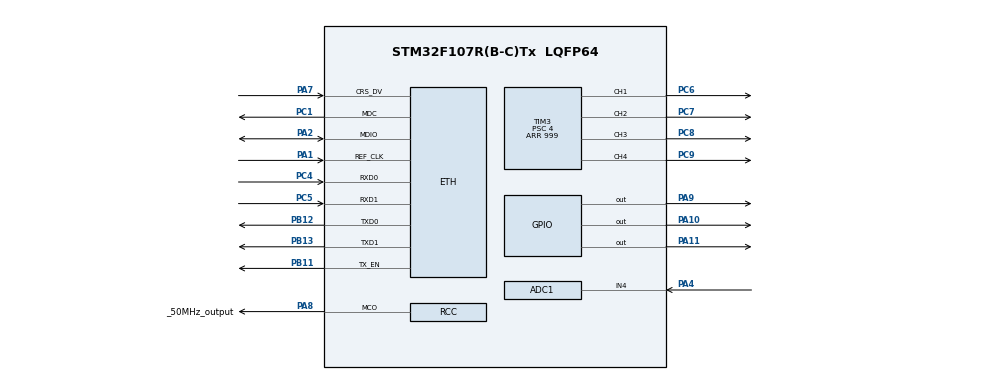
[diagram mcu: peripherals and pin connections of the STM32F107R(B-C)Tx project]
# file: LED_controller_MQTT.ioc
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ADC1.Channel-0\#ChannelRegularConversion=ADC_CHANNEL_4
ADC1.ContinuousConvMode=DISABLE
ADC1.NbrOfConversionFlag=1
ADC1.Rank-0\#ChannelRegularConversion=1
ADC1.SamplingTime-0\#ChannelRegularConversion=ADC_SAMPLETIME_1CYCLE_5
ADC1.master=1
ETH.MACAddr=00\:80\:E1\:02\:07\:01
ETH.MediaInterface=ETH_MEDIA_INTERFACE_RMII
FREERTOS.Tasks01=defaultTask,0,128,StartDefaultTask,Default,NULL
FREERTOS.configTOTAL_HEAP_SIZE=32768
FREERTOS.configUSE_COUNTING_SEMAPHORES=1
LWIP.CHECKSUM_BY_HARDWARE=1
LWIP.Version=v2.0.0_Cube
Mcu.Family=STM32F1
Mcu.Name=STM32F107R(B-C)Tx
Mcu.Package=LQFP64
NVIC.ADC1_2_IRQn=true\:5\:0\:false\:false\:true\:true\:true
NVIC.ETH_IRQn=true\:5\:0\:false\:false\:true\:true\:false
NVIC.PriorityGroup=NVIC_PRIORITYGROUP_4
NVIC.TIM4_IRQn=true\:5\:0\:false\:false\:true\:true\:true
NVIC.TIM7_IRQn=true\:0\:0\:false\:false\:true\:false\:false
NVIC.TimeBase=TIM7_IRQn
NVIC.TimeBaseIP=TIM7
PA1.Mode=RMII
PA1.Signal=ETH_REF_CLK
PA10.Signal=GPIO_Output
PA11.Signal=GPIO_Output
PA13.Mode=Serial_Wire
PA13.Signal=SYS_JTMS-SWDIO
PA14.Mode=Serial_Wire
PA14.Signal=SYS_JTCK-SWCLK
PA2.Mode=RMII
PA2.Signal=ETH_MDIO
PA4.Signal=ADCx_IN4
PA7.Mode=RMII
PA7.Signal=ETH_CRS_DV
PA8.GPIO_Label=_50MHz_output
PA8.GPIO_Speed=GPIO_SPEED_FREQ_HIGH
PA8.Mode=Clock-out
PA8.Signal=RCC_MCO
PA9.Signal=GPIO_Output
PB11.Mode=RMII
PB11.Signal=ETH_TX_EN
PB12.Mode=RMII
PB12.Signal=ETH_TXD0
PB13.Mode=RMII
PB13.Signal=ETH_TXD1
PC1.Mode=RMII
PC1.Signal=ETH_MDC
PC4.Mode=RMII
PC4.Signal=ETH_RXD0
PC5.Mode=RMII
PC5.Signal=ETH_RXD1
PC6.Signal=S_TIM3_CH1
PC7.Signal=S_TIM3_CH2
PC8.Signal=S_TIM3_CH3
PC9.Signal=S_TIM3_CH4
PD0-OSC_IN.Mode=HSE-External-Oscillator
PD0-OSC_IN.Signal=RCC_OSC_IN
PD1-OSC_OUT.Mode=HSE-External-Oscillator
PD1-OSC_OUT.Signal=RCC_OSC_OUT
ProjectManager.HeapSize=0x200
ProjectManager.StackSize=0x400
ProjectManager.TargetToolchain=TrueSTUDIO
RCC.ADCPresc=RCC_ADCPCLK2_DIV8
RCC.AHBFreq_Value=50000000
RCC.APB1CLKDivider=RCC_HCLK_DIV2
RCC.APB1Freq_Value=25000000
RCC.APB1TimFreq_Value=50000000
RCC.APB2Freq_Value=50000000
RCC.APB2TimFreq_Value=50000000
RCC.HCLKFreq_Value=50000000
RCC.HSEDivPLL=RCC_HSE_PREDIV_DIV4
RCC.HSE_VALUE=25000000
RCC.PLLMUL=RCC_PLL_MUL5
RCC.PLLSourceVirtual=RCC_PLLSOURCE_HSE
RCC.Prediv1Source=RCC_PREDIV1_SOURCE_PLL2
RCC.Prediv2=RCC_HSE_PREDIV2_DIV5
RCC.SYSCLKFreq_VALUE=50000000
RCC.SYSCLKSource=RCC_SYSCLKSOURCE_PLLCLK
RCC.USBFreq_Value=33333333.333333332
SH.ADCx_IN4.0=ADC1_IN4,IN4
SH.S_TIM3_CH1.0=TIM3_CH1,PWM Generation1 CH1
SH.S_TIM3_CH2.0=TIM3_CH2,PWM Generation2 CH2
SH.S_TIM3_CH3.0=TIM3_CH3,PWM Generation3 CH3
SH.S_TIM3_CH4.0=TIM3_CH4,PWM Generation4 CH4
TIM3.Channel-PWM\ Generation1\ CH1=TIM_CHANNEL_1
TIM3.Channel-PWM\ Generation2\ CH2=TIM_CHANNEL_2
TIM3.Channel-PWM\ Generation3\ CH3=TIM_CHANNEL_3
TIM3.Channel-PWM\ Generation4\ CH4=TIM_CHANNEL_4
TIM3.Period=999
TIM3.Prescaler=4
TIM4.Period=9999
TIM4.Prescaler=499
VP_CRC_VS_CRC.Mode=CRC_Activate
VP_FREERTOS_VS_ENABLE.Mode=Enabled
VP_LWIP_VS_Enabled.Mode=Enabled
VP_SYS_VS_tim7.Mode=TIM7
VP_TIM3_VS_ClockSourceINT.Mode=Internal
VP_TIM4_VS_ClockSourceINT.Mode=Internal
board=custom

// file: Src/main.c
#include "main.h"
#include "FreeRTOS.h"
#include "cmsis_os.h"
#include "lwip.h"
#include "socket.h"
#include "string.h"
#include "stdlib.h"
#include "mqtt.h"

#define ABSOLUTE_MAX_PWM		999
#define COOLDOWN_INTERVAL		600
#define DIVIDER_COEF			13.0f
#define TXMESSAGEQUEUE_SIZE		10
#define DATACOOLDOWN_INTERVAL	600
#define PARAMFIELD_LENGTH		50

ADC_HandleTypeDef hadc1;
CRC_HandleTypeDef hcrc;
TIM_HandleTypeDef htim3;
TIM_HandleTypeDef htim4;

extern struct netif gnetif;

osThreadId defaultTaskHandle;
osThreadId networkTaskHandle;
osThreadId networkReceiveTaskHandle;

osSemaphoreDef_t *ethTxSem;
osSemaphoreId ethTxSemaphoreId;

struct gParamStruct_t paramStruct;
int switchInPrev = 1;
int auxCtrlInPrev = 1;
int proxInPrev = 0;
int lightInPrev = 0;
int timerVal = 0;
int timerEnable = 0;
//int updatePendingFlag = 0;
int connState = CONNSTATE_IF_NOTREADY;
int sock;
char mqttClientId[PARAMFIELD_LENGTH];
char mqttTopicName[PARAMFIELD_LENGTH];
char mqttValue[PARAMFIELD_LENGTH];

void DefaultTask(void const * argument);
void NetworkTaskFunction(void const * argument);
void NetworkReceiveTaskFunction(void const * argument);
void ParseCommand(char *cmdBuf, char *valBuf);

int main(void)
{
  /* Reset of all peripherals, Initializes the Flash interface and the Systick. */
  HAL_Init();
  /* Configure the system clock */
  SystemClock_Config();
  /* Initialize all configured peripherals */
  MX_GPIO_Init();
  MX_TIM3_Init();
  MX_TIM4_Init();
  MX_ADC1_Init();
  MX_CRC_Init();

  /* Initialize Data structures */
  paramStruct.mode = 0;
  paramStruct.switchIn = 1;
  paramStruct.dimMinus = 1;
  paramStruct.dimPlus = 1;
  paramStruct.auxIn = 1;
  paramStruct.auxStatus = 0;
  paramStruct.proxIn = 0;
  paramStruct.lightIn = 0;
  paramStruct.maxPwm = ABSOLUTE_MAX_PWM;
  paramStruct.pwm1 = 0;
  paramStruct.pwm2 = 0;
  paramStruct.pwm3 = 0;
  paramStruct.pwm4 = 0;
  paramStruct.inputVoltage = 0.0f;
  paramStruct.temperature = -1.0f;

  memset(mqttClientId, 0, PARAMFIELD_LENGTH);
  sprintf(mqttClientId, "led_ctrl_%02X%02X%02X", 0x02, 0x07, 0x01);
  memset(mqttTopicName, 0, PARAMFIELD_LENGTH);
  sprintf(mqttTopicName, "inputVoltage");
  memset(mqttValue, 0, PARAMFIELD_LENGTH);
  sprintf(mqttValue, "%d.%d", (int)paramStruct.inputVoltage, ((int)(paramStruct.inputVoltage*10))%10);

  HAL_TIM_PWM_Start(&htim3,  TIM_CHANNEL_1);
  HAL_TIM_PWM_Start(&htim3,  TIM_CHANNEL_2);
  HAL_TIM_PWM_Start(&htim3,  TIM_CHANNEL_3);
  HAL_TIM_PWM_Start(&htim3,  TIM_CHANNEL_4);
  /* Create the thread(s) */
  /* definition and creation of defaultTask */
  osThreadDef(defaultTask, DefaultTask, osPriorityNormal, 0, 128);
  defaultTaskHandle = osThreadCreate(osThread(defaultTask), NULL);
  osThreadDef(networkTask, NetworkTaskFunction, osPriorityNormal, 0, 512);
  networkTaskHandle = osThreadCreate(osThread(networkTask), NULL);
  osThreadDef(networkReceiveTask, NetworkReceiveTaskFunction, osPriorityNormal, 0, 256);
  networkReceiveTaskHandle = osThreadCreate(osThread(networkReceiveTask), NULL);
  ethTxSemaphoreId = osSemaphoreCreate(ethTxSem, 1);
  /* Start scheduler */
  osKernelStart();

  /* We should never get here as control is now taken by the scheduler */

  /* Infinite loop */
  /* USER CODE BEGIN WHILE */
  while (1)
  {
  }
  /* USER CODE END 3 */
}

void DefaultTask(void const * argument)
{
  uint32_t i, tickCount = 0;
  float vTmp;

  osDelay(2000);
  /* USER CODE BEGIN 5 */
  /* Infinite loop */
  while(1)
  {
    HAL_GPIO_TogglePin(GPIOA, GPIO_PIN_11);

	/* Check SWITCH input */
	paramStruct.switchIn = HAL_GPIO_ReadPin(GPIOB, GPIO_PIN_9);
	/* If SWITCH is ON - force light ON at max brightness*/
	if(paramStruct.switchIn == 0)
	{
	  paramStruct.pwm1 = ABSOLUTE_MAX_PWM;
	  paramStruct.pwm2 = ABSOLUTE_MAX_PWM;
	  paramStruct.pwm3 = ABSOLUTE_MAX_PWM;
	  paramStruct.pwm4 = ABSOLUTE_MAX_PWM;
	  TIM3->CCR1 = paramStruct.pwm1;
	  TIM3->CCR2 = paramStruct.pwm2;
      TIM3->CCR3 = paramStruct.pwm3;
	  TIM3->CCR4 = paramStruct.pwm4;

	  if(switchInPrev == 1)
	  {
		  memset(mqttTopicName, 0, PARAMFIELD_LENGTH);
		  sprintf(mqttTopicName, "pwm");
		  memset(mqttValue, 0, PARAMFIELD_LENGTH);
		  sprintf(mqttValue, "%d", paramStruct.pwm1);
		  osSemaphoreRelease(ethTxSemaphoreId);
		  tickCount = 0;
	  }
	}
	/* If SWITCH is OFF - set user defined MAX value & check other control inputs*/
	else
	{
	  /* Check MOTION sensor input */
	  paramStruct.proxIn = HAL_GPIO_ReadPin(GPIOA, GPIO_PIN_3);
	  /* Motion detected*/
  	  if(paramStruct.proxIn == 1 && proxInPrev == 0)
	  {
		HAL_GPIO_WritePin(GPIOA, GPIO_PIN_10, GPIO_PIN_SET);
		if(paramStruct.pwm1 == 0)
		{
		  paramStruct.pwm1 = paramStruct.maxPwm;
		  paramStruct.pwm2 = paramStruct.maxPwm;
		  paramStruct.pwm3 = paramStruct.maxPwm;
		  paramStruct.pwm4 = paramStruct.maxPwm;
		  TIM3->CCR1 = paramStruct.pwm1;
		  TIM3->CCR2 = paramStruct.pwm2;
		  TIM3->CCR3 = paramStruct.pwm3;
		  TIM3->CCR4 = paramStruct.pwm4;

		  memset(mqttTopicName, 0, PARAMFIELD_LENGTH);
		  sprintf(mqttTopicName, "pwm");
		  memset(mqttValue, 0, PARAMFIELD_LENGTH);
		  sprintf(mqttValue, "%d", paramStruct.pwm1);
		  osSemaphoreRelease(ethTxSemaphoreId);
		  tickCount = 0;
		}
		timerVal = 0;
	  }
	  /* Motion stopped - set cooldown timer */
	  if(paramStruct.proxIn == 0 && proxInPrev == 1)
	  {
		HAL_GPIO_WritePin(GPIOA, GPIO_PIN_10, GPIO_PIN_RESET);
		timerEnable = 1;
	  }
	  if(timerEnable == 1)
	  {
		timerVal++;
		if(timerVal >= COOLDOWN_INTERVAL)
		{
		  timerEnable = 0;
		  timerVal = 0;
		  paramStruct.pwm1 = 0;
		  paramStruct.pwm2 = 0;
		  paramStruct.pwm3 = 0;
		  paramStruct.pwm4 = 0;
		  TIM3->CCR1 = paramStruct.pwm1;
		  TIM3->CCR2 = paramStruct.pwm2;
		  TIM3->CCR3 = paramStruct.pwm3;
		  TIM3->CCR4 = paramStruct.pwm4;

		  memset(mqttTopicName, 0, PARAMFIELD_LENGTH);
		  sprintf(mqttTopicName, "pwm");
		  memset(mqttValue, 0, PARAMFIELD_LENGTH);
		  sprintf(mqttValue, "%d", paramStruct.pwm1);
		  osSemaphoreRelease(ethTxSemaphoreId);
		  tickCount = 0;
		}
	  }
	  proxInPrev = paramStruct.proxIn;

	  /* Check DIM+ input */
	  paramStruct.dimPlus = HAL_GPIO_ReadPin(GPIOB, GPIO_PIN_8);
	  if(paramStruct.dimPlus == 0)
	  {
	    paramStruct.pwm1 += 10;
		paramStruct.pwm2 += 10;
		paramStruct.pwm3 += 10;
		paramStruct.pwm4 += 10;
		if(paramStruct.pwm1 > paramStruct.maxPwm) paramStruct.pwm1 = 0;
		if(paramStruct.pwm2 > paramStruct.maxPwm) paramStruct.pwm2 = 0;
		if(paramStruct.pwm3 > paramStruct.maxPwm) paramStruct.pwm3 = 0;
		if(paramStruct.pwm4 > paramStruct.maxPwm) paramStruct.pwm4 = 0;
		TIM3->CCR1 = paramStruct.pwm1;
		TIM3->CCR2 = paramStruct.pwm2;
		TIM3->CCR3 = paramStruct.pwm3;
		TIM3->CCR4 = paramStruct.pwm4;

		memset(mqttTopicName, 0, PARAMFIELD_LENGTH);
		sprintf(mqttTopicName, "pwm");
		memset(mqttValue, 0, PARAMFIELD_LENGTH);
		sprintf(mqttValue, "%d", paramStruct.pwm1);
		osSemaphoreRelease(ethTxSemaphoreId);
		tickCount = 0;
	  }
	  /* Check DIM- input */
	  paramStruct.dimMinus = HAL_GPIO_ReadPin(GPIOB, GPIO_PIN_5);
	  if(paramStruct.dimMinus == 0)
	  {
		paramStruct.pwm1 -= 10;
		paramStruct.pwm2 -= 10;
		paramStruct.pwm3 -= 10;
		paramStruct.pwm4 -= 10;
		if(paramStruct.pwm1 < 0) paramStruct.pwm1 = paramStruct.maxPwm;
		if(paramStruct.pwm2 < 0) paramStruct.pwm2 = paramStruct.maxPwm;
		if(paramStruct.pwm3 < 0) paramStruct.pwm3 = paramStruct.maxPwm;
		if(paramStruct.pwm4 < 0) paramStruct.pwm4 = paramStruct.maxPwm;
		TIM3->CCR1 = paramStruct.pwm1;
		TIM3->CCR2 = paramStruct.pwm2;
		TIM3->CCR3 = paramStruct.pwm3;
		TIM3->CCR4 = paramStruct.pwm4;

		memset(mqttTopicName, 0, PARAMFIELD_LENGTH);
		sprintf(mqttTopicName, "pwm");
		memset(mqttValue, 0, PARAMFIELD_LENGTH);
		sprintf(mqttValue, "%d", paramStruct.pwm1);
		osSemaphoreRelease(ethTxSemaphoreId);
		tickCount = 0;
	  }

	}
	switchInPrev = paramStruct.switchIn;

	/* Check AUX input. If switch is ON - turn on Relay */
	paramStruct.auxIn = HAL_GPIO_ReadPin(GPIOB, GPIO_PIN_4);
	if(paramStruct.auxIn == 0 && auxCtrlInPrev == 1)
	{
	  memset(mqttTopicName, 0, PARAMFIELD_LENGTH);
	  sprintf(mqttTopicName, "auxIn");
	  memset(mqttValue, 0, PARAMFIELD_LENGTH);
	  sprintf(mqttValue, "%d", paramStruct.auxIn);
	  osSemaphoreRelease(ethTxSemaphoreId);
	  tickCount = 0;

  	  HAL_GPIO_WritePin(GPIOA, GPIO_PIN_9, GPIO_PIN_SET);
  	  paramStruct.auxStatus = 1;
	}
	/* If switch is OFF - turn off Relay */
	if(paramStruct.auxIn == 1 && auxCtrlInPrev == 0)
	{
	  memset(mqttTopicName, 0, PARAMFIELD_LENGTH);
	  sprintf(mqttTopicName, "auxIn");
	  memset(mqttValue, 0, PARAMFIELD_LENGTH);
	  sprintf(mqttValue, "%d", paramStruct.auxIn);
	  osSemaphoreRelease(ethTxSemaphoreId);
	  tickCount = 0;

	  HAL_GPIO_WritePin(GPIOA, GPIO_PIN_9, GPIO_PIN_RESET);
	  paramStruct.auxStatus = 0;
	}
	auxCtrlInPrev = paramStruct.auxIn;
	/* Start ADC to measure Vin*/
	HAL_ADC_Start(&hadc1);
    HAL_ADC_PollForConversion(&hadc1,100);
    i = (uint32_t) HAL_ADC_GetValue(&hadc1);
    vTmp = (float)i*3.3/4096;
    paramStruct.inputVoltage = vTmp * DIVIDER_COEF;

	tickCount++;
	if(tickCount > DATACOOLDOWN_INTERVAL)
	{
		memset(mqttTopicName, 0, PARAMFIELD_LENGTH);
		sprintf(mqttTopicName, "inputVoltage");
		memset(mqttValue, 0, PARAMFIELD_LENGTH);
		sprintf(mqttValue, "%d.%d", (int)paramStruct.inputVoltage, ((int)(paramStruct.inputVoltage*10))%10);
		osSemaphoreRelease(ethTxSemaphoreId);
		tickCount = 0;
	}

    osDelay(100);
  }
  /* USER CODE END 5 */
}

void NetworkTaskFunction(void const * argument)
{
  int sock, error, errorCount = 0;
  //unsigned char ipAddr[4] = {0,0,0,0};
  struct sockaddr_in localhost, remotehost;

  /* init code for LWIP */
  MX_LWIP_Init();
  /* Wait for IP address assignment */
  while(gnetif.ip_addr.addr == 0)
  {
	  osDelay(100);
  }
  /* set flag - interface ready */
  connState = CONNSTATE_IF_READY;

  while(1)
  {
	if(connState == CONNSTATE_IF_READY)
	{
		close(sock);
		if((sock = socket(AF_INET,SOCK_STREAM, IPPROTO_TCP)) >= 0)
		 {
			memset(&localhost, 0, sizeof(struct sockaddr_in));
			localhost.sin_family = AF_INET;
			localhost.sin_port = htons(1234);
			localhost.sin_addr.s_addr = INADDR_ANY;
			error = bind(sock, (struct sockaddr *)&localhost, sizeof(struct sockaddr_in));
			if(error >= 0) connState = CONNSTATE_SOCKET_READY;
		 }
	}
	if(connState == CONNSTATE_SOCKET_READY)
	{
		memset(&remotehost, 0, sizeof(struct sockaddr_in));
		remotehost.sin_family = AF_INET;
		remotehost.sin_port = htons(1883);
		ip4addr_aton("192.168.0.100",(ip4_addr_t*)&remotehost.sin_addr);
		connState = CONNSTATE_TCP_NOCONNECT;
	}
    if(connState == CONNSTATE_TCP_NOCONNECT)
    {
    	error = connect(sock, (struct sockaddr *) &remotehost, sizeof(struct sockaddr_in));
    	if(error >= 0)
    	{
    		connState = CONNSTATE_TCP_CONNECTED;
    		//error = MqttConnect(sock, mqttClientId);
    	}
    	else
    	{
    		errorCount++;
    		if(errorCount > 3)
    		{
    			connState = CONNSTATE_IF_READY;
    			errorCount = 0;
    		}
    	}
    	//osDelay(10);
    }
    if(connState == CONNSTATE_TCP_CONNECTED)
    {
    	error = MqttConnect(sock, mqttClientId);
    	if(error < 0) connState = CONNSTATE_IF_READY;
    	osDelay(100);
    }
    if(connState == CONNSTATE_MQTT_CONNECTED)
    {
    	error = MqttSubscribe(sock, mqttClientId, "cmd\/#", 101);
    	connState = CONNSTATE_MQTT_READY;
    }
    if(connState == CONNSTATE_MQTT_READY)
    {
    	if(osSemaphoreWait(ethTxSemaphoreId, 1000) == 0)
    	{
    	  error = MqttPublish(sock, mqttClientId, mqttTopicName, mqttValue, 0);
    	  if(error < 0)
    	  {
    		  connState = CONNSTATE_TCP_NOCONNECT;
    		  shutdown(sock, 2);
    	  }
    	}
    }
    //osDelay(1000);
  }
}

void NetworkReceiveTaskFunction(void const * argument)
{
	int nbytes, nrecv = 0, err;
	unsigned char buffer[200];
	char cmdBuf[50], valBuf[20];
	while(1)
	{
		while(connState < CONNSTATE_TCP_CONNECTED)
		{
			osDelay(10);
		}
		nbytes = recv(sock, buffer, sizeof(buffer),0);
		if(nbytes > 0)
		{
			nrecv++;
			err = MqttParse(buffer, mqttClientId, "cmd", cmdBuf, valBuf);
			if(err == 100) connState = CONNSTATE_MQTT_CONNECTED;
			if(err == 101) ParseCommand(cmdBuf, valBuf);
			memset(buffer, 0, 200);
			memset(cmdBuf, 0, 50);
			memset(valBuf, 0, 20);
		}
	}
}

void ParseCommand(char *cmdBuf, char *valBuf)
{
	/* Command maxPwm - sets maximum brightness for current context (0..999) */
	if(strcmp(cmdBuf, "maxPwm") == 0)
	{
		if(atoi(valBuf) >= 0 && atoi(valBuf) <= ABSOLUTE_MAX_PWM)
		{
			paramStruct.maxPwm = atoi(valBuf);
			/*if(paramStruct.pwm1 != 0 && paramStruct.switchIn != 0)
			{
				updatePendingFlag = 1;
			}*/
		}
	}
	/* Command uaxCtrl - switch ON/OFF aux relay (1 - ON, 0 -OFF) */
	if(strcmp(cmdBuf, "auxCtrl") == 0)
	{
		if(atoi(valBuf) == 1)
		{
			paramStruct.auxStatus = 1;
			HAL_GPIO_WritePin(GPIOA, GPIO_PIN_9, GPIO_PIN_SET);
			memset(mqttTopicName, 0, PARAMFIELD_LENGTH);
			sprintf(mqttTopicName, "auxStatus");
			memset(mqttValue, 0, PARAMFIELD_LENGTH);
			sprintf(mqttValue, "%d", paramStruct.auxStatus);
			osSemaphoreRelease(ethTxSemaphoreId);
		}
		else
		{
			paramStruct.auxStatus = 0;
			HAL_GPIO_WritePin(GPIOA, GPIO_PIN_9, GPIO_PIN_RESET);
			memset(mqttTopicName, 0, PARAMFIELD_LENGTH);
			sprintf(mqttTopicName, "auxStatus");
			memset(mqttValue, 0, PARAMFIELD_LENGTH);
			sprintf(mqttValue, "%d", paramStruct.auxStatus);
			osSemaphoreRelease(ethTxSemaphoreId);
		}
	}
}
